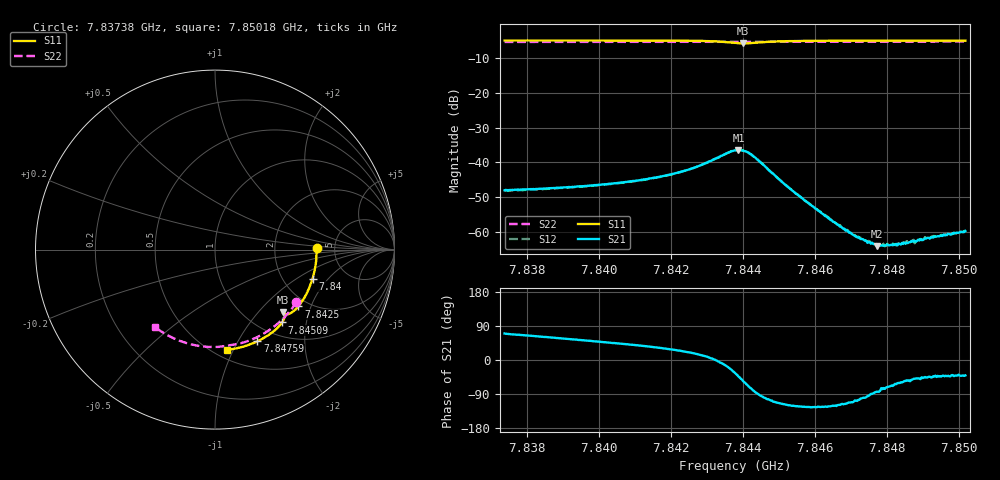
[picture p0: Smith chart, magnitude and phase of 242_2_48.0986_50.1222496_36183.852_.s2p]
#  HZ  S  RI  R  50.00
! Rohde & Schwarz Vector Network Analyzer
! Rohde-Schwarz,ZNB20-2Port,1311601062101988,3.16
! Created: UTC 12/23/2023, 3:58:51 AM
! freq[Hz]  re:S11  im:S11  re:S21  im:S21  re:S12  im:S12  re:S22  im:S22
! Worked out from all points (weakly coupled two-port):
!   401 points, 7.83738 GHz to 7.85018 GHz, reference 50 ohm
!   highest |S21| = -36.38 dB at 7.84388 GHz (marker M1); lowest = -64.0 dB at 7.84772 GHz (marker M2)
!   lowest |S11| = -5.8 dB at 7.844 GHz (marker M3), VSWR 3.12, Z = 72.1 - j68.6 ohm
!   |S11| at or under -10 dB: nowhere
!   |S22| runs from -5.4 to -5.3 dB; largest |S21 - S12| = 0.00032
!   S11 on the Smith chart (normalised r, x): 7.83738 GHz: 3.61, +0.12; 7.84 GHz: 2.89, -1.38; 7.8425 GHz: 1.77, -1.64; 7.84509 GHz: 1.25, -1.46; 7.84759 GHz: 0.81, -1.21; 7.85018 GHz: 0.58, -0.95
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7.837375e9  0.5662 0.0111  0.00137 0.00375  0.00142 0.00368  0.4536 -0.2922
7.83952e9  0.5518 -0.1308  0.00278 0.00362  0.00274 0.00358  0.3564 -0.4064
7.840001e9  0.5433 -0.1621  0.00321 0.00356  0.00313 0.00355  0.3304 -0.4279
7.841666e9  0.4985 -0.267  0.00523 0.00331  0.00522 0.00332  0.2313 -0.4895
7.842498e9  0.4643 -0.3166  0.00745 0.00277  0.00744 0.00278  0.1772 -0.5116
7.843299e9  0.4158 -0.3566  0.0117 -0.000629  0.0116 -0.000557  0.1227 -0.5264
7.843779e9  0.3812 -0.3573  0.0124 -0.00842  0.0123 -0.00834  0.0906 -0.5314
7.843875e9  0.3779 -0.354  0.011 -0.0104  0.0111 -0.0103  0.0844 -0.5323
7.844003e9  0.3773 -0.3499  0.0084 -0.0122  0.00858 -0.0121  0.0763 -0.5335
7.844292e9  0.3854 -0.3533  0.00199 -0.0121  0.00209 -0.0121  0.058 -0.5369
7.845092e9  0.3738 -0.4059  -0.00227 -0.0047  -0.00225 -0.00472  0.00227 -0.5427
7.845925e9  0.3325 -0.4502  -0.00133 -0.00195  -0.00135 -0.00196  -0.0564 -0.5406
7.846597e9  0.2949 -0.478  -0.000687 -0.00112  -0.000634 -0.00117  -0.1034 -0.5341
7.847109e9  0.2648 -0.4962  -0.000255 -0.000843  -0.000284 -0.000861  -0.1386 -0.5266
7.84759e9  0.2358 -0.5109  6.04e-06 -0.000704  -2.56e-05 -0.000713  -0.171 -0.5172
7.847718e9  0.228 -0.5147  7.16e-05 -0.000628  8.84e-05 -0.000671  -0.1795 -0.5144
7.84807e9  0.206 -0.5239  0.000223 -0.000606  0.000245 -0.000628  -0.2027 -0.5059
7.848262e9  0.1941 -0.5285  0.000297 -0.000606  0.000281 -0.000576  -0.2153 -0.5008
7.848679e9  0.1678 -0.5375  0.000456 -0.00059  0.00045 -0.000573  -0.2419 -0.4889
7.848839e9  0.1576 -0.5406  0.000495 -0.000559  0.000499 -0.000567  -0.2519 -0.4839
7.849319e9  0.1265 -0.5486  0.000619 -0.000594  0.000619 -0.000621  -0.2812 -0.4676
7.850184e9  0.0696 -0.5582  0.000785 -0.000676  0.000784 -0.000698  -0.3317 -0.4338
